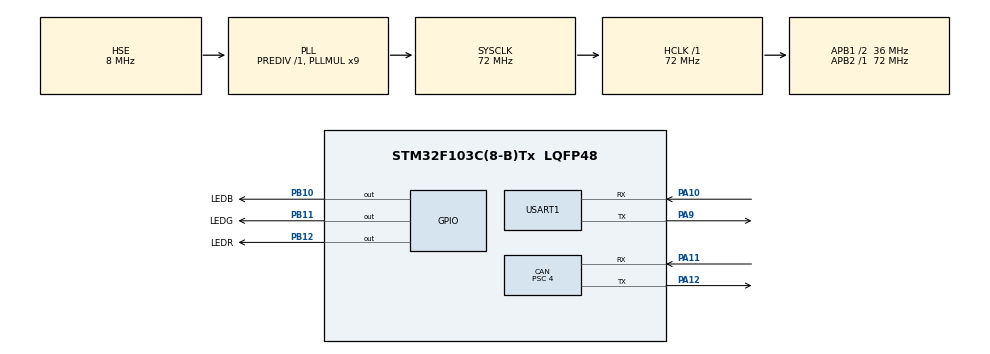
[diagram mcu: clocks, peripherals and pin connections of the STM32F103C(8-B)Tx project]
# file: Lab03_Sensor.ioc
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CAN.BS1=CAN_BS1_13TQ
CAN.BS2=CAN_BS2_4TQ
CAN.CalculateBaudRate=500000
CAN.CalculateTimeBit=2000
CAN.CalculateTimeQuantum=111.11111111111111
CAN.Mode=CAN_MODE_LOOPBACK
CAN.Prescaler=4
CAN.SJW=CAN_SJW_2TQ
Mcu.Family=STM32F1
Mcu.Name=STM32F103C(8-B)Tx
Mcu.Package=LQFP48
NVIC.CAN1_RX1_IRQn=true\:0\:0\:false\:false\:true\:true\:true\:true
NVIC.PriorityGroup=NVIC_PRIORITYGROUP_4
PA10.Mode=Asynchronous
PA10.Signal=USART1_RX
PA11.Mode=CAN_Activate
PA11.Signal=CAN_RX
PA12.Mode=CAN_Activate
PA12.Signal=CAN_TX
PA13.Mode=Serial_Wire
PA13.Signal=SYS_JTMS-SWDIO
PA14.Mode=Serial_Wire
PA14.Signal=SYS_JTCK-SWCLK
PA9.Mode=Asynchronous
PA9.Signal=USART1_TX
PB10.GPIO_Label=LEDB
PB10.Signal=GPIO_Output
PB11.GPIO_Label=LEDG
PB11.Signal=GPIO_Output
PB12.GPIO_Label=LEDR
PB12.Signal=GPIO_Output
PD0-OSC_IN.Mode=HSE-External-Oscillator
PD0-OSC_IN.Signal=RCC_OSC_IN
PD1-OSC_OUT.Mode=HSE-External-Oscillator
PD1-OSC_OUT.Signal=RCC_OSC_OUT
ProjectManager.HeapSize=0x200
ProjectManager.StackSize=0x400
ProjectManager.TargetToolchain=STM32CubeIDE
RCC.AHBFreq_Value=72000000
RCC.APB1CLKDivider=RCC_HCLK_DIV2
RCC.APB1Freq_Value=36000000
RCC.APB1TimFreq_Value=72000000
RCC.APB2Freq_Value=72000000
RCC.APB2TimFreq_Value=72000000
RCC.HCLKFreq_Value=72000000
RCC.PLLMUL=RCC_PLL_MUL9
RCC.PLLSourceVirtual=RCC_PLLSOURCE_HSE
RCC.SYSCLKFreq_VALUE=72000000
RCC.SYSCLKSource=RCC_SYSCLKSOURCE_PLLCLK
RCC.USBFreq_Value=72000000
USART1.VirtualMode=VM_ASYNC
board=custom

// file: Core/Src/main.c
/* USER CODE BEGIN Header */
/**
 ******************************************************************************
 * @file           : main.c
 * @brief          : Main program body
 ******************************************************************************
 * @attention
 *
 * Copyright (c) 2024 STMicroelectronics.
 * All rights reserved.
 *
 * This software is licensed under terms that can be found in the LICENSE file
 * in the root directory of this software component.
 * If no LICENSE file comes with this software, it is provided AS-IS.
 *
 ******************************************************************************
 */
/* USER CODE END Header */
#include "main.h"

/* USER CODE BEGIN Includes */
#include "CANCom.h"
#include "crc.h"
/* USER CODE END Includes */

CAN_HandleTypeDef hcan;

UART_HandleTypeDef huart1;

/* USER CODE BEGIN PV */

int crc_SendData;
extern uint8_t SendBuf[8];
extern uint8_t MsgCounter = 0;
/* USER CODE END PV */

void SystemClock_Config(void);
static void MX_GPIO_Init(void);
static void MX_CAN_Init(void);
static void MX_USART1_UART_Init(void);

int main(void)
{

  /* MCU Configuration--------------------------------------------------------*/

  /* Reset of all peripherals, Initializes the Flash interface and the Systick. */
  HAL_Init();

  /* Configure the system clock */
  SystemClock_Config();

  /* Initialize all configured peripherals */
  MX_GPIO_Init();
  MX_CAN_Init();
  MX_USART1_UART_Init();
  /* USER CODE BEGIN 2 */
  CANCom_Init();
  uint8_t SendBuff[8] = {0};
  uint8_t msgCounter = 0;
  /* USER CODE END 2 */
  HAL_GPIO_WritePin(LEDG_GPIO_Port, LEDG_Pin, GPIO_PIN_SET); //turn off led
  /* Infinite loop */
  /* USER CODE BEGIN WHILE */
  int crc_val = 0;
	while (1)
	{
		SendBuf[0] = 4;
		SendBuf[1] = 5;
		crc_val = calc_SAE_J1850(SendBuf, 7);
		SendBuf[7] = crc_val;
		CANCom_Transmit(SendBuf, 8);
		HAL_Delay(20);

  /* USER CODE END WHILE */

	}
}

void SystemClock_Config(void)
{
  RCC_OscInitTypeDef RCC_OscInitStruct = {0};
  RCC_ClkInitTypeDef RCC_ClkInitStruct = {0};

  /** Initializes the RCC Oscillators according to the specified parameters
  * in the RCC_OscInitTypeDef structure.
  */
  RCC_OscInitStruct.OscillatorType = RCC_OSCILLATORTYPE_HSE;
  RCC_OscInitStruct.HSEState = RCC_HSE_ON;
  RCC_OscInitStruct.HSEPredivValue = RCC_HSE_PREDIV_DIV1;
  RCC_OscInitStruct.HSIState = RCC_HSI_ON;
  RCC_OscInitStruct.PLL.PLLState = RCC_PLL_ON;
  RCC_OscInitStruct.PLL.PLLSource = RCC_PLLSOURCE_HSE;
  RCC_OscInitStruct.PLL.PLLMUL = RCC_PLL_MUL9;
  if (HAL_RCC_OscConfig(&RCC_OscInitStruct) != HAL_OK)
  {
    Error_Handler();
  }

  /** Initializes the CPU, AHB and APB buses clocks
  */
  RCC_ClkInitStruct.ClockType = RCC_CLOCKTYPE_HCLK|RCC_CLOCKTYPE_SYSCLK
                              |RCC_CLOCKTYPE_PCLK1|RCC_CLOCKTYPE_PCLK2;
  RCC_ClkInitStruct.SYSCLKSource = RCC_SYSCLKSOURCE_PLLCLK;
  RCC_ClkInitStruct.AHBCLKDivider = RCC_SYSCLK_DIV1;
  RCC_ClkInitStruct.APB1CLKDivider = RCC_HCLK_DIV2;
  RCC_ClkInitStruct.APB2CLKDivider = RCC_HCLK_DIV1;

  if (HAL_RCC_ClockConfig(&RCC_ClkInitStruct, FLASH_LATENCY_2) != HAL_OK)
  {
    Error_Handler();
  }
}

static void MX_CAN_Init(void)
{

  hcan.Instance = CAN1;
  hcan.Init.Prescaler = 4;
  hcan.Init.Mode = CAN_MODE_LOOPBACK;
  hcan.Init.SyncJumpWidth = CAN_SJW_2TQ;
  hcan.Init.TimeSeg1 = CAN_BS1_13TQ;
  hcan.Init.TimeSeg2 = CAN_BS2_4TQ;
  hcan.Init.TimeTriggeredMode = DISABLE;
  hcan.Init.AutoBusOff = DISABLE;
  hcan.Init.AutoWakeUp = DISABLE;
  hcan.Init.AutoRetransmission = DISABLE;
  hcan.Init.ReceiveFifoLocked = DISABLE;
  hcan.Init.TransmitFifoPriority = DISABLE;
  if (HAL_CAN_Init(&hcan) != HAL_OK)
  {
    Error_Handler();
  }

}

static void MX_USART1_UART_Init(void)
{

  huart1.Instance = USART1;
  huart1.Init.BaudRate = 115200;
  huart1.Init.WordLength = UART_WORDLENGTH_8B;
  huart1.Init.StopBits = UART_STOPBITS_1;
  huart1.Init.Parity = UART_PARITY_NONE;
  huart1.Init.Mode = UART_MODE_TX_RX;
  huart1.Init.HwFlowCtl = UART_HWCONTROL_NONE;
  huart1.Init.OverSampling = UART_OVERSAMPLING_16;
  if (HAL_UART_Init(&huart1) != HAL_OK)
  {
    Error_Handler();
  }

}

static void MX_GPIO_Init(void)
{
  GPIO_InitTypeDef GPIO_InitStruct = {0};

  /* GPIO Ports Clock Enable */
  __HAL_RCC_GPIOD_CLK_ENABLE();
  __HAL_RCC_GPIOB_CLK_ENABLE();
  __HAL_RCC_GPIOA_CLK_ENABLE();

  /*Configure GPIO pin Output Level */
  HAL_GPIO_WritePin(GPIOB, LEDB_Pin|LEDG_Pin|LEDR_Pin, GPIO_PIN_RESET);

  /*Configure GPIO pins : LEDB_Pin LEDG_Pin LEDR_Pin */
  GPIO_InitStruct.Pin = LEDB_Pin|LEDG_Pin|LEDR_Pin;
  GPIO_InitStruct.Mode = GPIO_MODE_OUTPUT_PP;
  GPIO_InitStruct.Pull = GPIO_NOPULL;
  GPIO_InitStruct.Speed = GPIO_SPEED_FREQ_LOW;
  HAL_GPIO_Init(GPIOB, &GPIO_InitStruct);

}

/* USER CODE BEGIN 4 */
void HAL_CAN_RxFifo0MsgPendingCallback(CAN_HandleTypeDef *hcan){
	HAL_GPIO_TogglePin(LEDB_GPIO_Port, LEDB_Pin);
	CANCom_ReceiveCallback();
}
/* USER CODE END 4 */

void Error_Handler(void)
{
	__disable_irq();
	while (1) {
	}
}
